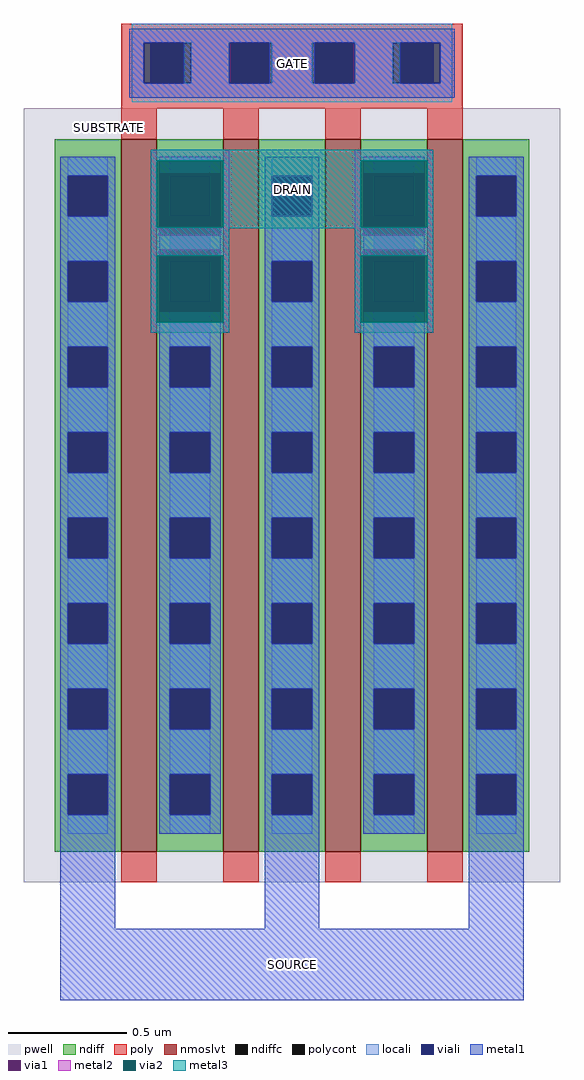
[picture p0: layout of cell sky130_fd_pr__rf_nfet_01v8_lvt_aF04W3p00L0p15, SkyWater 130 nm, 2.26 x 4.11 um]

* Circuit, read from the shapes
.subckt sky130_fd_pr__rf_nfet_01v8_lvt_aF04W3p00L0p15 DRAIN GATE SOURCE SUBSTRATE
XM1 DRAIN GATE SOURCE SUBSTRATE sky130_fd_pr__nfet_01v8_lvt w=3 l=0.15 m=4
.ends

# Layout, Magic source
magic
tech sky130A
magscale 1 2
<< pwell >>
rect 10 10 462 662
<< nmoslvt >>
rect 92 36 122 636
rect 178 36 208 636
rect 264 36 294 636
rect 350 36 380 636
<< ndiff >>
rect 36 605 92 636
rect 36 571 47 605
rect 81 571 92 605
rect 36 533 92 571
rect 36 499 47 533
rect 81 499 92 533
rect 36 461 92 499
rect 36 427 47 461
rect 81 427 92 461
rect 36 389 92 427
rect 36 355 47 389
rect 81 355 92 389
rect 36 317 92 355
rect 36 283 47 317
rect 81 283 92 317
rect 36 245 92 283
rect 36 211 47 245
rect 81 211 92 245
rect 36 173 92 211
rect 36 139 47 173
rect 81 139 92 173
rect 36 101 92 139
rect 36 67 47 101
rect 81 67 92 101
rect 36 36 92 67
rect 122 605 178 636
rect 122 571 133 605
rect 167 571 178 605
rect 122 533 178 571
rect 122 499 133 533
rect 167 499 178 533
rect 122 461 178 499
rect 122 427 133 461
rect 167 427 178 461
rect 122 389 178 427
rect 122 355 133 389
rect 167 355 178 389
rect 122 317 178 355
rect 122 283 133 317
rect 167 283 178 317
rect 122 245 178 283
rect 122 211 133 245
rect 167 211 178 245
rect 122 173 178 211
rect 122 139 133 173
rect 167 139 178 173
rect 122 101 178 139
rect 122 67 133 101
rect 167 67 178 101
rect 122 36 178 67
rect 208 605 264 636
rect 208 571 219 605
rect 253 571 264 605
rect 208 533 264 571
rect 208 499 219 533
rect 253 499 264 533
rect 208 461 264 499
rect 208 427 219 461
rect 253 427 264 461
rect 208 389 264 427
rect 208 355 219 389
rect 253 355 264 389
rect 208 317 264 355
rect 208 283 219 317
rect 253 283 264 317
rect 208 245 264 283
rect 208 211 219 245
rect 253 211 264 245
rect 208 173 264 211
rect 208 139 219 173
rect 253 139 264 173
rect 208 101 264 139
rect 208 67 219 101
rect 253 67 264 101
rect 208 36 264 67
rect 294 605 350 636
rect 294 571 305 605
rect 339 571 350 605
rect 294 533 350 571
rect 294 499 305 533
rect 339 499 350 533
rect 294 461 350 499
rect 294 427 305 461
rect 339 427 350 461
rect 294 389 350 427
rect 294 355 305 389
rect 339 355 350 389
rect 294 317 350 355
rect 294 283 305 317
rect 339 283 350 317
rect 294 245 350 283
rect 294 211 305 245
rect 339 211 350 245
rect 294 173 350 211
rect 294 139 305 173
rect 339 139 350 173
rect 294 101 350 139
rect 294 67 305 101
rect 339 67 350 101
rect 294 36 350 67
rect 380 605 436 636
rect 380 571 391 605
rect 425 571 436 605
rect 380 533 436 571
rect 380 499 391 533
rect 425 499 436 533
rect 380 461 436 499
rect 380 427 391 461
rect 425 427 436 461
rect 380 389 436 427
rect 380 355 391 389
rect 425 355 436 389
rect 380 317 436 355
rect 380 283 391 317
rect 425 283 436 317
rect 380 245 436 283
rect 380 211 391 245
rect 425 211 436 245
rect 380 173 436 211
rect 380 139 391 173
rect 425 139 436 173
rect 380 101 436 139
rect 380 67 391 101
rect 425 67 436 101
rect 380 36 436 67
<< ndiffc >>
rect 47 571 81 605
rect 47 499 81 533
rect 47 427 81 461
rect 47 355 81 389
rect 47 283 81 317
rect 47 211 81 245
rect 47 139 81 173
rect 47 67 81 101
rect 133 571 167 605
rect 133 499 167 533
rect 133 427 167 461
rect 133 355 167 389
rect 133 283 167 317
rect 133 211 167 245
rect 133 139 167 173
rect 133 67 167 101
rect 219 571 253 605
rect 219 499 253 533
rect 219 427 253 461
rect 219 355 253 389
rect 219 283 253 317
rect 219 211 253 245
rect 219 139 253 173
rect 219 67 253 101
rect 305 571 339 605
rect 305 499 339 533
rect 305 427 339 461
rect 305 355 339 389
rect 305 283 339 317
rect 305 211 339 245
rect 305 139 339 173
rect 305 67 339 101
rect 391 571 425 605
rect 391 499 425 533
rect 391 427 425 461
rect 391 355 425 389
rect 391 283 425 317
rect 391 211 425 245
rect 391 139 425 173
rect 391 67 425 101
<< poly >>
rect 92 717 380 733
rect 92 683 117 717
rect 151 683 185 717
rect 219 683 253 717
rect 287 683 321 717
rect 355 683 380 717
rect 92 662 380 683
rect 92 636 122 662
rect 178 636 208 662
rect 264 636 294 662
rect 350 636 380 662
rect 92 10 122 36
rect 178 10 208 36
rect 264 10 294 36
rect 350 10 380 36
<< polycont >>
rect 117 683 151 717
rect 185 683 219 717
rect 253 683 287 717
rect 321 683 355 717
<< locali >>
rect 101 717 371 733
rect 101 683 111 717
rect 151 683 183 717
rect 219 683 253 717
rect 289 683 321 717
rect 361 683 371 717
rect 101 667 371 683
rect 47 605 81 621
rect 47 533 81 571
rect 47 461 81 499
rect 47 389 81 427
rect 47 317 81 355
rect 47 245 81 283
rect 47 173 81 211
rect 47 101 81 139
rect 47 51 81 67
rect 133 605 167 621
rect 133 533 167 571
rect 133 461 167 499
rect 133 389 167 427
rect 133 317 167 355
rect 133 245 167 283
rect 133 173 167 211
rect 133 101 167 139
rect 133 51 167 67
rect 219 605 253 621
rect 219 533 253 571
rect 219 461 253 499
rect 219 389 253 427
rect 219 317 253 355
rect 219 245 253 283
rect 219 173 253 211
rect 219 101 253 139
rect 219 51 253 67
rect 305 605 339 621
rect 305 533 339 571
rect 305 461 339 499
rect 305 389 339 427
rect 305 317 339 355
rect 305 245 339 283
rect 305 173 339 211
rect 305 101 339 139
rect 305 51 339 67
rect 391 605 425 621
rect 391 533 425 571
rect 391 461 425 499
rect 391 389 425 427
rect 391 317 425 355
rect 391 245 425 283
rect 391 173 425 211
rect 391 101 425 139
rect 391 51 425 67
<< viali >>
rect 111 683 117 717
rect 117 683 145 717
rect 183 683 185 717
rect 185 683 217 717
rect 255 683 287 717
rect 287 683 289 717
rect 327 683 355 717
rect 355 683 361 717
rect 47 571 81 605
rect 47 499 81 533
rect 47 427 81 461
rect 47 355 81 389
rect 47 283 81 317
rect 47 211 81 245
rect 47 139 81 173
rect 47 67 81 101
rect 133 571 167 605
rect 133 499 167 533
rect 133 427 167 461
rect 133 355 167 389
rect 133 283 167 317
rect 133 211 167 245
rect 133 139 167 173
rect 133 67 167 101
rect 219 571 253 605
rect 219 499 253 533
rect 219 427 253 461
rect 219 355 253 389
rect 219 283 253 317
rect 219 211 253 245
rect 219 139 253 173
rect 219 67 253 101
rect 305 571 339 605
rect 305 499 339 533
rect 305 427 339 461
rect 305 355 339 389
rect 305 283 339 317
rect 305 211 339 245
rect 305 139 339 173
rect 305 67 339 101
rect 391 571 425 605
rect 391 499 425 533
rect 391 427 425 461
rect 391 355 425 389
rect 391 283 425 317
rect 391 211 425 245
rect 391 139 425 173
rect 391 67 425 101
<< metal1 >>
rect 99 717 373 729
rect 99 683 111 717
rect 145 683 183 717
rect 217 683 255 717
rect 289 683 327 717
rect 361 683 373 717
rect 99 671 373 683
rect 41 605 87 621
rect 41 571 47 605
rect 81 571 87 605
rect 41 533 87 571
rect 41 499 47 533
rect 81 499 87 533
rect 41 461 87 499
rect 41 427 47 461
rect 81 427 87 461
rect 41 389 87 427
rect 41 355 47 389
rect 81 355 87 389
rect 41 317 87 355
rect 41 283 47 317
rect 81 283 87 317
rect 41 245 87 283
rect 41 211 47 245
rect 81 211 87 245
rect 41 173 87 211
rect 41 139 47 173
rect 81 139 87 173
rect 41 101 87 139
rect 41 67 47 101
rect 81 67 87 101
rect 41 -29 87 67
rect 124 607 176 621
rect 124 543 176 555
rect 124 461 176 491
rect 124 427 133 461
rect 167 427 176 461
rect 124 389 176 427
rect 124 355 133 389
rect 167 355 176 389
rect 124 317 176 355
rect 124 283 133 317
rect 167 283 176 317
rect 124 245 176 283
rect 124 211 133 245
rect 167 211 176 245
rect 124 173 176 211
rect 124 139 133 173
rect 167 139 176 173
rect 124 101 176 139
rect 124 67 133 101
rect 167 67 176 101
rect 124 51 176 67
rect 213 605 259 621
rect 213 571 219 605
rect 253 571 259 605
rect 213 533 259 571
rect 213 499 219 533
rect 253 499 259 533
rect 213 461 259 499
rect 213 427 219 461
rect 253 427 259 461
rect 213 389 259 427
rect 213 355 219 389
rect 253 355 259 389
rect 213 317 259 355
rect 213 283 219 317
rect 253 283 259 317
rect 213 245 259 283
rect 213 211 219 245
rect 253 211 259 245
rect 213 173 259 211
rect 213 139 219 173
rect 253 139 259 173
rect 213 101 259 139
rect 213 67 219 101
rect 253 67 259 101
rect 213 -29 259 67
rect 296 607 348 621
rect 296 543 348 555
rect 296 461 348 491
rect 296 427 305 461
rect 339 427 348 461
rect 296 389 348 427
rect 296 355 305 389
rect 339 355 348 389
rect 296 317 348 355
rect 296 283 305 317
rect 339 283 348 317
rect 296 245 348 283
rect 296 211 305 245
rect 339 211 348 245
rect 296 173 348 211
rect 296 139 305 173
rect 339 139 348 173
rect 296 101 348 139
rect 296 67 305 101
rect 339 67 348 101
rect 296 51 348 67
rect 385 605 431 621
rect 385 571 391 605
rect 425 571 431 605
rect 385 533 431 571
rect 385 499 391 533
rect 425 499 431 533
rect 385 461 431 499
rect 385 427 391 461
rect 425 427 431 461
rect 385 389 431 427
rect 385 355 391 389
rect 425 355 431 389
rect 385 317 431 355
rect 385 283 391 317
rect 425 283 431 317
rect 385 245 431 283
rect 385 211 391 245
rect 425 211 431 245
rect 385 173 431 211
rect 385 139 391 173
rect 425 139 431 173
rect 385 101 431 139
rect 385 67 391 101
rect 425 67 431 101
rect 385 -29 431 67
rect 41 -89 431 -29
<< via1 >>
rect 124 605 176 607
rect 124 571 133 605
rect 133 571 167 605
rect 167 571 176 605
rect 124 555 176 571
rect 124 533 176 543
rect 124 499 133 533
rect 133 499 167 533
rect 167 499 176 533
rect 124 491 176 499
rect 296 605 348 607
rect 296 571 305 605
rect 305 571 339 605
rect 339 571 348 605
rect 296 555 348 571
rect 296 533 348 543
rect 296 499 305 533
rect 305 499 339 533
rect 339 499 348 533
rect 296 491 348 499
<< metal2 >>
rect 117 618 183 627
rect 117 562 122 618
rect 178 562 183 618
rect 117 555 124 562
rect 176 555 183 562
rect 117 543 183 555
rect 117 538 124 543
rect 176 538 183 543
rect 117 482 122 538
rect 178 482 183 538
rect 117 473 183 482
rect 289 618 355 627
rect 289 562 294 618
rect 350 562 355 618
rect 289 555 296 562
rect 348 555 355 562
rect 289 543 355 555
rect 289 538 296 543
rect 348 538 355 543
rect 289 482 294 538
rect 350 482 355 538
rect 289 473 355 482
<< via2 >>
rect 122 607 178 618
rect 122 562 124 607
rect 124 562 176 607
rect 176 562 178 607
rect 122 491 124 538
rect 124 491 176 538
rect 176 491 178 538
rect 122 482 178 491
rect 294 607 350 618
rect 294 562 296 607
rect 296 562 348 607
rect 348 562 350 607
rect 294 491 296 538
rect 296 491 348 538
rect 348 491 350 538
rect 294 482 350 491
<< metal3 >>
rect 117 618 355 627
rect 117 562 122 618
rect 178 562 294 618
rect 350 562 355 618
rect 117 561 355 562
rect 117 538 183 561
rect 117 482 122 538
rect 178 482 183 538
rect 117 473 183 482
rect 289 538 355 561
rect 289 482 294 538
rect 350 482 355 538
rect 289 473 355 482
<< labels >>
flabel metal3 s 117 561 355 627 0 FreeSans 400 0 0 0 DRAIN
port 1 nsew
flabel metal1 s 41 -89 431 -29 0 FreeSans 400 0 0 0 SOURCE
port 3 nsew
flabel metal1 s 99 671 373 729 0 FreeSans 400 0 0 0 GATE
port 2 nsew
flabel pwell s 77 639 87 652 0 FreeSans 200 0 0 0 SUBSTRATE
port 4 nsew
<< properties >>
string GDS_FILE $PDKPATH/libs.ref/sky130_fd_pr/gds/sky130_fd_pr.gds
string GDS_END 5848370
string GDS_START 5837564
string path 1.600 15.525 1.600 -2.225 
<< end >>
